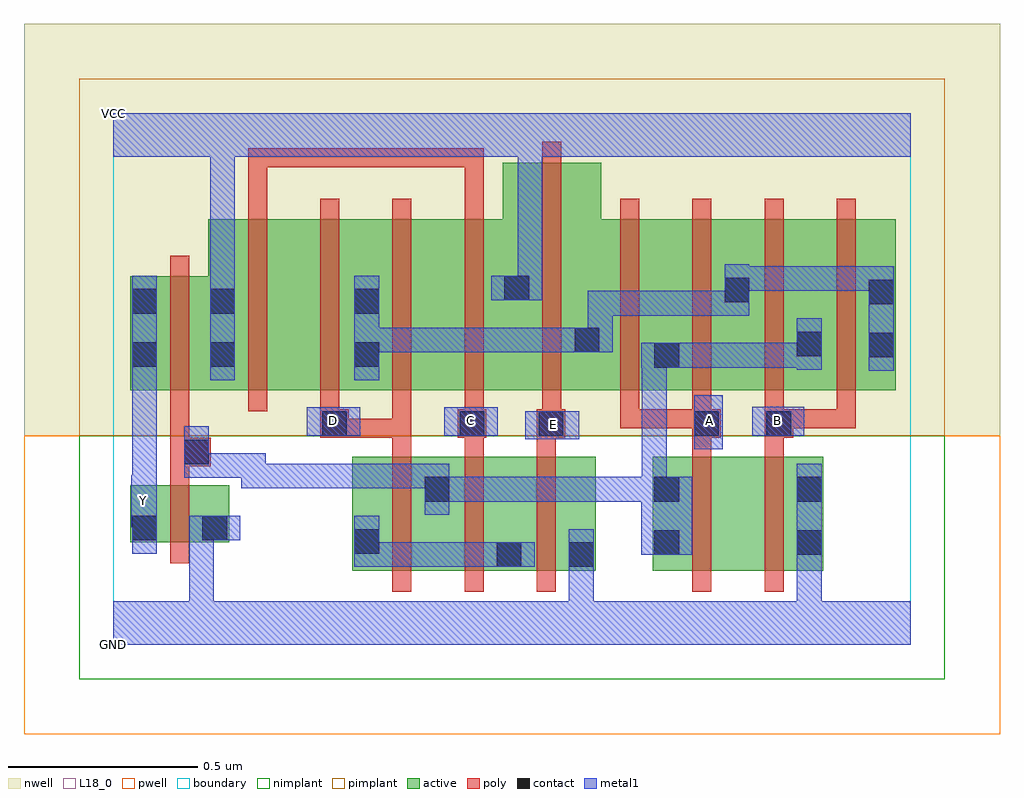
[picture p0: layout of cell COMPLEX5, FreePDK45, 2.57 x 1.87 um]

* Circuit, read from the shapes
.subckt COMPLEX5 A B C D E GND VCC Y
M1 GND n1 Y VSUBS nfet w=0.15u l=0.05u
M2 n1 D n2 VSUBS nfet w=0.3u l=0.05u
M3 n2 C n1 VSUBS nfet w=0.3u l=0.05u
M4 GND E n2 VSUBS nfet w=0.3u l=0.05u
M5 n3 A n1 VSUBS nfet w=0.3u l=0.05u
M6 GND B n3 VSUBS nfet w=0.3u l=0.05u
M7 VCC n1 Y n4 pfet w=0.3u l=0.05u
M8 n5 C VCC n4 pfet w=0.45u l=0.05u
M9 n6 D n5 n4 pfet w=0.45u l=0.05u
M10 n7 D n6 n4 pfet w=0.45u l=0.05u
M11 VCC C n7 n4 pfet w=0.45u l=0.05u
M12 n6 E VCC n4 pfet w=0.6u l=0.05u
M13 n1 A n6 n4 pfet w=0.45u l=0.05u m=2
M14 n1 B n6 n4 pfet w=0.45u l=0.05u m=2
.ends

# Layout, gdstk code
import gdstk
lib = gdstk.Library(unit=1e-6, precision=1e-09)
def R(c, l, rs):  # rectangles x0, y0, x1, y1
    for r in rs: c.add(gdstk.rectangle(r[:2], r[2:], *l))
def A(c, l, x, y, w, h, nx, ny, dx, dy):  # array of equal rectangles
    R(c, l, [(x+i*dx, y+j*dy, x+i*dx+w, y+j*dy+h) for i in range(nx) for j in range(ny)])
active = (1, 0)
pwell = (2, 0)
nwell = (3, 0)
nimplant = (4, 0)
pimplant = (5, 0)
poly = (9, 0)
contact = (10, 0)
metal1 = (11, 0)
L18_0 = (18, 0)
boundary = (235, 0)

complex5 = lib.new_cell('COMPLEX5')
R(complex5, active, [(0.63,0.195,0.705,0.495), (0.63,0.195,0.89,0.495), (0.815,0.195,1.08,0.495), (0.815,0.195,0.89,0.447), (1.005,0.195,1.27,0.495), (1.005,0.195,1.08,0.392), (1.195,0.195,1.27,0.495), (1.42,0.195,1.645,0.495), (1.42,0.195,1.525,0.495), (1.645,0.195,1.87,0.495), (1.795,0.195,1.87,0.495), (0.045,0.27,0.12,0.42), (0.045,0.27,0.305,0.42), (0.23,0.27,0.305,0.42), (0.045,0.67,0.12,0.97), (0.045,0.67,0.325,0.97), (0.25,0.67,0.475,1.12), (0.25,0.67,0.325,1.12), (0.475,0.67,0.705,1.12), (0.63,0.67,0.855,1.12), (0.63,0.67,0.705,1.12), (0.855,0.67,1.1,1.12), (1.025,0.67,1.285,1.27), (1.21,0.67,1.495,1.12), (1.21,0.67,1.285,1.2), (1.42,0.67,1.495,1.055), (1.42,0.67,1.68,1.12), (1.605,0.67,1.87,1.12), (1.795,0.67,1.87,1.055), (1.795,0.67,2.06,1.12), (1.985,0.67,2.06,1.055), (1.605,0.702,1.68,1.055), (1.025,0.722,1.1,1.055)])
R(complex5, pwell, [(-0.235,-0.235,2.335,0.55)])
R(complex5, nwell, [(-0.235,0.55,2.335,1.635)])
R(complex5, nimplant, [(-0.09,-0.09,2.19,0.55)])
R(complex5, pimplant, [(-0.09,0.55,2.19,1.49)])
A(complex5, poly, 0.735, 0.14, 0.05, 0.41, 3, 1, 0.19, 0)
A(complex5, poly, 0.735, 0.5, 0.05, 0.095, 3, 1, 0.19, 0)
A(complex5, poly, 0.925, 0.57, 0.05, 0.095, 3, 1, 0.205, 0)
A(complex5, poly, 1.525, 0.57, 0.05, 0.095, 3, 1, 0.19, 0)
A(complex5, poly, 0.355, 0.615, 0.05, 0.56, 4, 1, 0.19, 0)
A(complex5, poly, 1.335, 0.615, 0.05, 0.56, 4, 1, 0.19, 0)
R(complex5, poly, [(1.525,0.14,1.575,0.55), (1.715,0.14,1.765,0.55), (0.15,0.215,0.2,0.475), (0.15,0.425,0.2,0.52), (0.15,0.47,0.257,0.545), (0.15,0.495,0.2,0.665), (1.525,0.5,1.575,0.595), (1.715,0.5,1.765,0.595), (0.545,0.545,0.62,0.62), (0.57,0.545,0.62,0.595), (0.57,0.545,0.62,0.595), (0.57,0.545,0.785,0.595), (0.735,0.545,0.785,0.595), (0.735,0.545,0.785,0.665), (0.907,0.545,0.982,0.62), (1.115,0.545,1.19,0.62), (1.525,0.545,1.6,0.62), (1.715,0.545,1.79,0.62), (0.545,0.57,0.595,0.665), (1.335,0.57,1.385,0.62), (1.335,0.57,1.385,0.62), (1.335,0.57,1.385,0.62), (1.335,0.57,1.575,0.62), (1.74,0.57,1.955,0.62), (1.905,0.57,1.955,0.62), (1.905,0.57,1.955,0.62), (1.905,0.57,1.955,0.62), (0.15,0.615,0.2,1.025), (1.13,0.615,1.18,1.325), (0.355,1.125,0.405,1.307), (0.925,1.125,0.975,1.307), (0.355,1.257,0.405,1.307), (0.355,1.257,0.405,1.307), (0.355,1.257,0.405,1.307), (0.355,1.257,0.575,1.307), (0.525,1.257,0.575,1.307), (0.525,1.257,0.575,1.307), (0.525,1.257,0.575,1.307), (0.525,1.257,0.825,1.307), (0.775,1.257,0.825,1.307), (0.775,1.257,0.825,1.307), (0.775,1.257,0.825,1.307), (0.775,1.257,0.975,1.307), (0.925,1.257,0.975,1.307)])
R(complex5, contact, [(1.01,0.205,1.075,0.27), (1.2,0.205,1.265,0.27), (1.425,0.237,1.49,0.302), (1.8,0.237,1.865,0.302), (0.635,0.24,0.7,0.305), (0.05,0.275,0.115,0.34), (0.235,0.275,0.3,0.34), (0.82,0.377,0.885,0.442), (1.425,0.377,1.49,0.442), (1.8,0.377,1.865,0.442), (0.187,0.475,0.252,0.54), (0.55,0.55,0.615,0.615), (0.912,0.55,0.977,0.615), (1.12,0.55,1.185,0.615), (1.53,0.55,1.595,0.615), (1.72,0.55,1.785,0.615), (1.425,0.73,1.49,0.795), (0.05,0.732,0.115,0.797), (0.255,0.732,0.32,0.797), (0.635,0.732,0.7,0.797), (1.99,0.757,2.055,0.822), (1.8,0.76,1.865,0.825), (1.215,0.77,1.28,0.835), (0.05,0.872,0.115,0.937), (0.255,0.872,0.32,0.937), (0.635,0.872,0.7,0.937), (1.99,0.897,2.055,0.962), (1.61,0.902,1.675,0.967), (1.03,0.907,1.095,0.972)])
R(complex5, metal1, [(0,0,2.1,0.115), (0.2,0.05,0.265,0.115), (0.2,0.05,0.265,0.115), (0.2,0.05,0.265,0.115), (0.2,0.05,0.265,0.115), (0.2,0.05,0.265,0.34), (1.2,0.05,1.265,0.115), (1.2,0.05,1.265,0.115), (1.2,0.05,1.265,0.235), (1.8,0.05,1.865,0.115), (1.8,0.05,1.865,0.115), (1.8,0.05,1.865,0.267), (1.2,0.17,1.265,0.305), (1.8,0.202,1.865,0.477), (0.635,0.205,0.7,0.27), (0.635,0.205,0.7,0.27), (0.635,0.205,0.7,0.34), (0.635,0.205,0.885,0.27), (0.82,0.205,0.885,0.27), (0.82,0.205,1.012,0.27), (0.947,0.205,1.012,0.27), (0.947,0.205,1.04,0.27), (0.975,0.205,1.11,0.27), (1.39,0.237,1.525,0.442), (0.05,0.24,0.115,0.375), (0.2,0.275,0.335,0.34), (0.047,0.31,0.115,0.447), (0.05,0.31,0.115,0.375), (0.82,0.342,0.885,0.477), (0.82,0.377,0.885,0.442), (0.82,0.377,0.885,0.442), (0.82,0.377,1.022,0.442), (0.957,0.377,1.022,0.442), (0.957,0.377,1.175,0.442), (1.11,0.377,1.175,0.442), (1.11,0.377,1.175,0.442), (1.11,0.377,1.175,0.442), (1.11,0.377,1.382,0.442), (1.317,0.377,1.382,0.442), (1.317,0.377,1.455,0.442), (1.392,0.377,1.457,0.442), (1.392,0.377,1.457,0.442), (1.392,0.377,1.457,0.795), (0.05,0.382,0.115,0.762), (0.337,0.412,0.402,0.477), (0.337,0.412,0.54,0.477), (0.337,0.412,0.402,0.505), (0.475,0.412,0.54,0.477), (0.475,0.412,0.54,0.477), (0.475,0.412,0.54,0.477), (0.475,0.412,0.712,0.477), (0.647,0.412,0.712,0.477), (0.647,0.412,0.885,0.477), (0.187,0.44,0.252,0.505), (0.187,0.44,0.252,0.505), (0.187,0.44,0.252,0.575), (0.187,0.44,0.402,0.505), (0.337,0.44,0.402,0.505), (0.337,0.44,0.402,0.505), (0.337,0.44,0.402,0.505), (1.53,0.515,1.605,0.657), (1.085,0.542,1.227,0.615), (0.51,0.55,0.65,0.625), (0.872,0.55,1.012,0.625), (1.682,0.55,1.82,0.627), (0.05,0.697,0.115,0.972), (0.255,0.697,0.32,0.972), (0.635,0.697,0.7,0.972), (1.99,0.722,2.055,0.997), (1.8,0.725,1.865,0.86), (1.39,0.73,1.525,0.795), (1.46,0.73,1.61,0.795), (1.545,0.73,1.61,0.795), (1.545,0.73,1.675,0.795), (1.61,0.73,1.675,0.795), (1.61,0.73,1.865,0.795), (1.8,0.73,1.865,0.795), (1.8,0.73,1.865,0.795), (0.635,0.77,0.7,0.835), (0.635,0.77,0.7,0.835), (0.635,0.77,0.885,0.835), (0.82,0.77,0.885,0.835), (0.82,0.77,0.885,0.835), (0.82,0.77,0.885,0.835), (0.82,0.77,1.037,0.835), (0.972,0.77,1.037,0.835), (0.972,0.77,1.245,0.835), (1.18,0.77,1.245,0.835), (1.18,0.77,1.245,0.835), (1.18,0.77,1.315,0.835), (1.25,0.77,1.315,0.932), (1.25,0.867,1.315,0.932), (1.25,0.867,1.382,0.932), (1.317,0.867,1.382,0.932), (1.317,0.867,1.537,0.932), (1.472,0.867,1.537,0.932), (1.472,0.867,1.537,0.932), (1.472,0.867,1.537,0.932), (1.472,0.867,1.675,0.932), (1.61,0.867,1.675,1.002), (0.255,0.907,0.32,0.972), (0.255,0.907,0.32,0.972), (0.255,0.907,0.32,1.35), (0.995,0.907,1.13,0.972), (1.065,0.907,1.13,1.35), (1.61,0.932,1.812,0.997), (1.747,0.932,1.812,0.997), (1.747,0.932,1.812,0.997), (1.747,0.932,1.812,0.997), (1.747,0.932,2.055,0.997), (1.99,0.932,2.055,0.997), (1.99,0.932,2.055,0.997), (0,1.285,2.1,1.4)])
R(complex5, L18_0, [(0,0,2.1,0.115), (0.2,0.05,0.265,0.115), (0.2,0.05,0.265,0.115), (0.2,0.05,0.265,0.115), (0.2,0.05,0.265,0.115), (0.2,0.05,0.265,0.34), (1.2,0.05,1.265,0.115), (1.2,0.05,1.265,0.115), (1.2,0.05,1.265,0.235), (1.8,0.05,1.865,0.115), (1.8,0.05,1.865,0.115), (1.8,0.05,1.865,0.267), (1.2,0.17,1.265,0.305), (1.8,0.202,1.865,0.477), (0.05,0.24,0.115,0.375), (0.2,0.275,0.335,0.34), (0.047,0.31,0.115,0.447), (0.05,0.31,0.115,0.375), (0.047,0.347,0.112,0.412), (0.05,0.382,0.115,0.762), (1.53,0.515,1.605,0.657), (1.085,0.542,1.227,0.615), (1.127,0.547,1.192,0.612), (0.51,0.55,0.65,0.625), (0.872,0.55,1.012,0.625), (1.682,0.55,1.82,0.627), (0.547,0.557,0.612,0.622), (0.907,0.557,0.972,0.622), (1.537,0.557,1.602,0.622), (1.717,0.557,1.782,0.622), (0.05,0.697,0.115,0.972), (0.255,0.697,0.32,0.972), (0.255,0.907,0.32,0.972), (0.255,0.907,0.32,0.972), (0.255,0.907,0.32,1.35), (0.995,0.907,1.13,0.972), (1.065,0.907,1.13,1.35), (0,1.285,2.1,1.4)])
R(complex5, boundary, [(0,0,2.1,1.4)])
complex5.add(gdstk.Label('A', (1.57,0.59), layer=11, texttype=0))
complex5.add(gdstk.Label('B', (1.75,0.59), layer=11, texttype=0))
complex5.add(gdstk.Label('C', (0.94,0.59), layer=11, texttype=0))
complex5.add(gdstk.Label('D', (0.58,0.59), layer=11, texttype=0))
complex5.add(gdstk.Label('E', (1.16,0.58), layer=11, texttype=0))
complex5.add(gdstk.Label('Y', (0.08,0.38), layer=11, texttype=0))
complex5.add(gdstk.Label('VCC', (0,1.4), layer=11, texttype=0))
complex5.add(gdstk.Label('GND', (0,0), layer=11, texttype=0))

lib.write_gds('COMPLEX5.gds')
